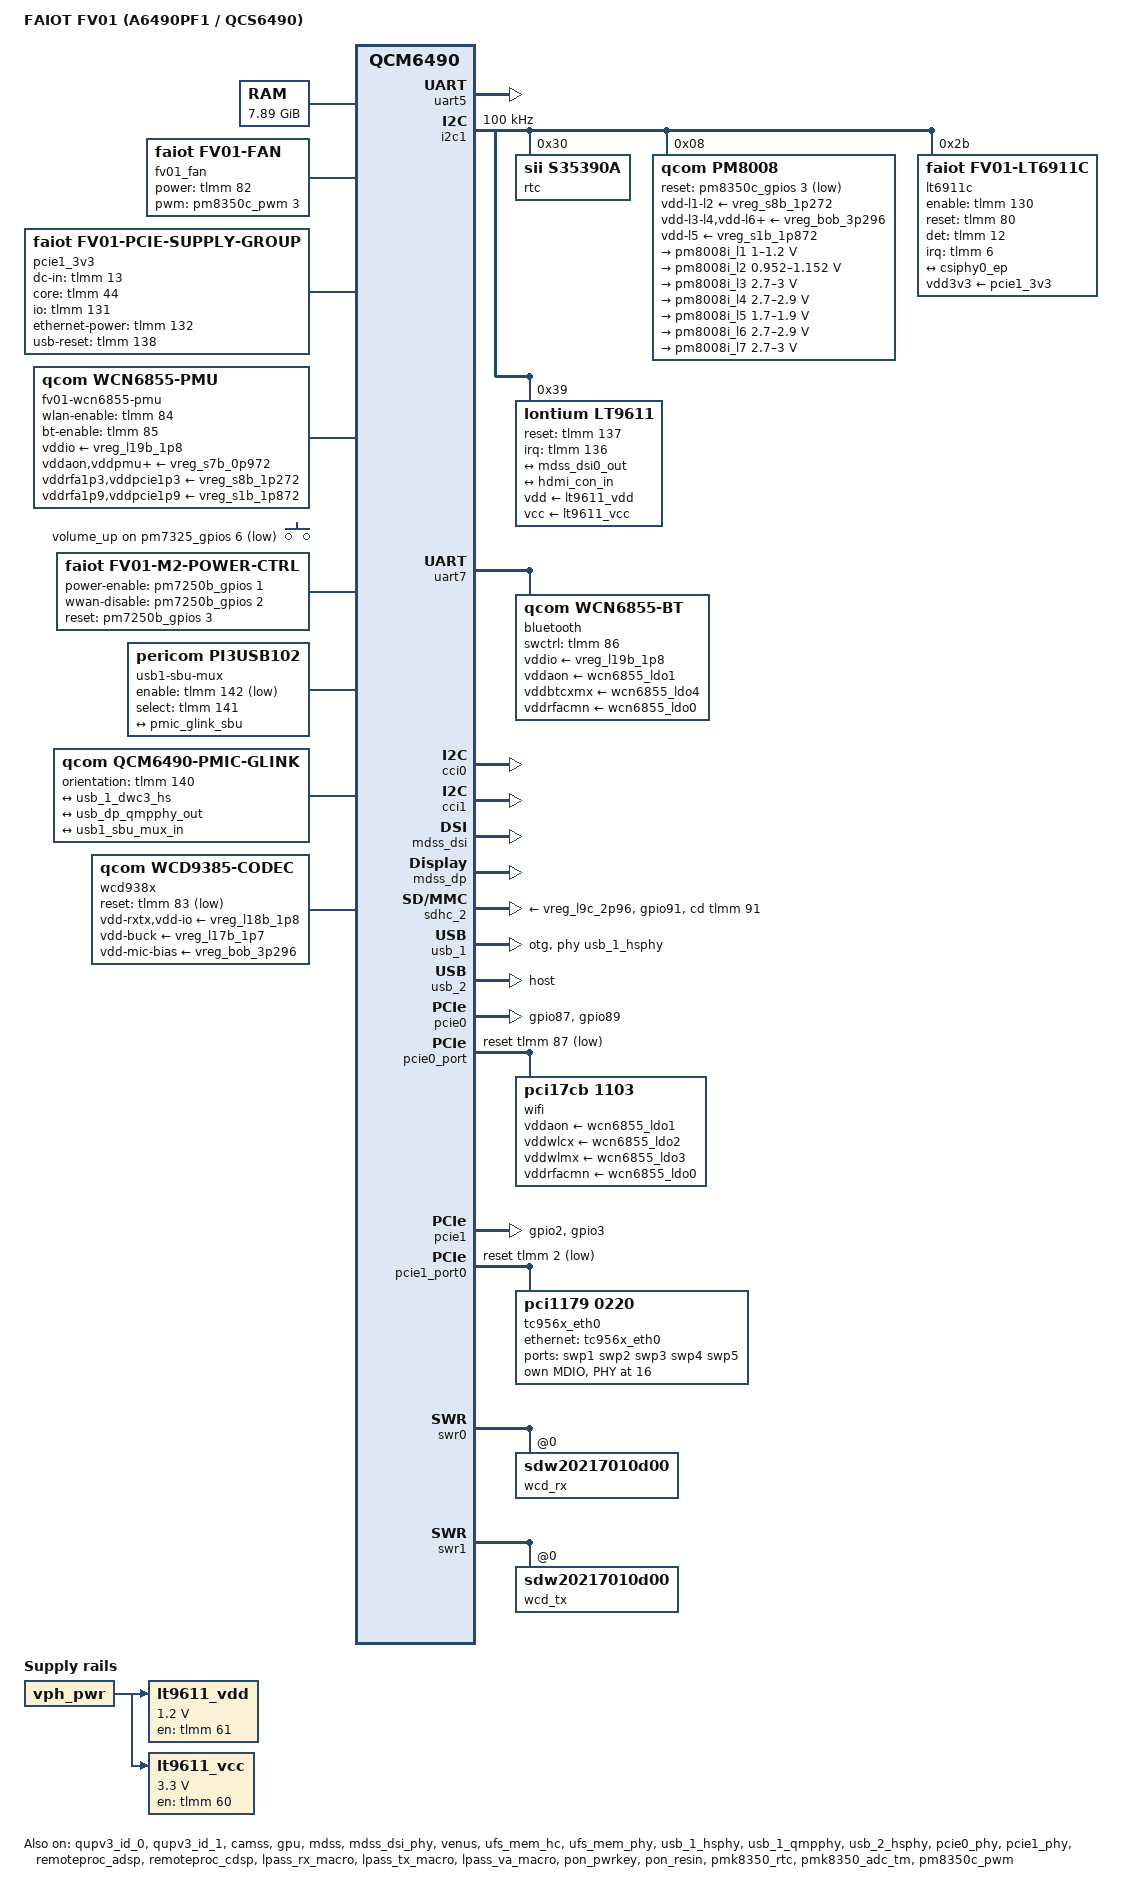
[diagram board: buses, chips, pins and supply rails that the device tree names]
// SPDX-License-Identifier: BSD-3-Clause
/*
 * Device Tree for FAIOT / AidLux FV01 (A6490PF1 / A6490BF1) based on Qualcomm QCS6490.
 */
/dts-v1/;

#define PM7250B_SID 8
#define PM7250B_SID1 9

#include <dt-bindings/gpio/gpio.h>
#include <dt-bindings/input/input.h>
#include <dt-bindings/interrupt-controller/arm-gic.h>
#include <dt-bindings/interrupt-controller/irq.h>
#include <dt-bindings/leds/common.h>
#include <dt-bindings/pinctrl/qcom,pmic-gpio.h>
#include <dt-bindings/regulator/qcom,rpmh-regulator.h>
#include <dt-bindings/sound/qcom,q6asm.h>
#include <dt-bindings/sound/qcom,q6dsp-lpass-ports.h>

#include "kodiak.dtsi"
#include "pm7250b.dtsi"
#include "pm7325.dtsi"
#include "pm8350c.dtsi"
#include "pmk8350.dtsi"
#include "pmr735a.dtsi"
#include "fv01-memory.dtsi"
#include "fv01-regulators.dtsi"
#include "qcom-fv-common.dtsi"

/ {
	model = "FAIOT FV01 (A6490PF1 / QCS6490)";
	compatible = "faiot,fv01", "qcom,qcm6490";
	qcom,msm-id = <498 0x10000>;
	qcom,board-id = <0x10120 0>;

	aliases {
		serial0 = &uart5;
	};

	chosen {
		stdout-path = "serial0:115200n8";
	};

	memory@80000000 {
		device_type = "memory";
		reg = <0 0x80000000 0 0x39300000>,
		      <1 0x80000000 1 0x0>,
		      <0 0xc0000000 0 0xc0000000>;
	};

	hypervisor-watchdog {
		compatible = "qcom,hh-watchdog";
	};

	fv01_fan: faiot-fan {
		compatible = "faiot,fv01-fan";
		pwms = <&pm8350c_pwm 3 1000000>;
		power-gpios = <&tlmm 82 GPIO_ACTIVE_HIGH>;
		#cooling-cells = <2>;
		pinctrl-names = "default";
		pinctrl-0 = <&fv01_fan_pwm>;
	};

	pcie1_3v3: fv01-pcie-supply-group {
		compatible = "faiot,fv01-pcie-supply-group";
		regulator-name = "fv01_pcie1_supply_group";
		regulator-min-microvolt = <3300000>;
		regulator-max-microvolt = <3300000>;
		regulator-always-on;
		dc-in-gpios = <&tlmm 13 GPIO_ACTIVE_HIGH>;
		core-gpios = <&tlmm 44 GPIO_ACTIVE_HIGH>;
		io-gpios = <&tlmm 131 GPIO_ACTIVE_HIGH>;
		ethernet-power-gpios = <&tlmm 132 GPIO_ACTIVE_HIGH>;
		usb-reset-gpios = <&tlmm 138 GPIO_ACTIVE_HIGH>;
		pinctrl-names = "default";
		pinctrl-0 = <&fv01_pcie1_power>;
	};

	fv01-wcn6855-pmu {
		compatible = "qcom,wcn6855-pmu";
		pinctrl-names = "default";
		pinctrl-0 = <&fv01_wlan_en>, <&fv01_bt_en>;
		wlan-enable-gpios = <&tlmm 84 GPIO_ACTIVE_HIGH>;
		bt-enable-gpios = <&tlmm 85 GPIO_ACTIVE_HIGH>;
		vddio-supply = <&vreg_l19b_1p8>;
		vddaon-supply = <&vreg_s7b_0p972>;
		vddpmu-supply = <&vreg_s7b_0p972>;
		vddpmumx-supply = <&vreg_s7b_0p972>;
		vddpmucx-supply = <&vreg_s7b_0p972>;
		vddrfa0p95-supply = <&vreg_s7b_0p972>;
		vddrfa1p3-supply = <&vreg_s8b_1p272>;
		vddrfa1p9-supply = <&vreg_s1b_1p872>;
		vddpcie1p3-supply = <&vreg_s8b_1p272>;
		vddpcie1p9-supply = <&vreg_s1b_1p872>;

		regulators {
			wcn6855_ldo0: ldo0 {
				regulator-name = "fv01_wcn_rfa_cmn_0p8";
			};

			wcn6855_ldo1: ldo1 {
				regulator-name = "fv01_wcn_aon_0p8";
			};

			wcn6855_ldo2: ldo2 {
				regulator-name = "fv01_wcn_wlcx_0p8";
			};

			wcn6855_ldo3: ldo3 {
				regulator-name = "fv01_wcn_wlmx_0p8";
			};

			wcn6855_ldo4: ldo4 {
				regulator-name = "fv01_wcn_btcmx_0p8";
			};

			wcn6855_ldo5: ldo5 {
				regulator-name = "fv01_wcn_pcie_1p8";
			};

			wcn6855_ldo6: ldo6 {
				regulator-name = "fv01_wcn_pcie_0p9";
			};

			wcn6855_ldo7: ldo7 {
				regulator-name = "fv01_wcn_rfa_0p8";
			};

			wcn6855_ldo8: ldo8 {
				regulator-name = "fv01_wcn_rfa_1p2";
			};

			wcn6855_ldo9: ldo9 {
				regulator-name = "fv01_wcn_rfa_1p7";
			};
		};
	};

	gpio-keys {
		compatible = "gpio-keys";
		label = "gpio-keys";
		pinctrl-names = "default";
		pinctrl-0 = <&key_vol_up_default>;

		key-volume-up {
			label = "volume_up";
			gpios = <&pm7325_gpios 6 GPIO_ACTIVE_LOW>;
			linux,input-type = <EV_KEY>;
			linux,code = <KEY_VOLUMEUP>;
			linux,can-disable;
			debounce-interval = <15>;
			wakeup-source;
		};
	};

	lt9611_vdd: lt9611-vdd-regulator {
		compatible = "regulator-fixed";
		regulator-name = "lt9611_vdd";
		vin-supply = <&vph_pwr>;
		regulator-min-microvolt = <1200000>;
		regulator-max-microvolt = <1200000>;
		gpio = <&tlmm 61 GPIO_ACTIVE_HIGH>;
		enable-active-high;
	};

	lt9611_vcc: lt9611-vcc-regulator {
		compatible = "regulator-fixed";
		regulator-name = "lt9611_vcc";
		vin-supply = <&vph_pwr>;
		regulator-min-microvolt = <3300000>;
		regulator-max-microvolt = <3300000>;
		gpio = <&tlmm 60 GPIO_ACTIVE_HIGH>;
		enable-active-high;
	};

	m2-power-ctrl {
		compatible = "faiot,fv01-m2-power-ctrl";
		power-enable-gpios = <&pm7250b_gpios 1 GPIO_ACTIVE_HIGH>;
		wwan-disable-gpios = <&pm7250b_gpios 2 GPIO_ACTIVE_HIGH>;
		reset-gpios = <&pm7250b_gpios 3 GPIO_ACTIVE_HIGH>;
		tc9563-i2c = <&i2c1 0x77>;
	};

	usb1-sbu-mux {
		compatible = "pericom,pi3usb102", "gpio-sbu-mux";
		enable-gpios = <&tlmm 142 GPIO_ACTIVE_LOW>;
		select-gpios = <&tlmm 141 GPIO_ACTIVE_HIGH>;
		pinctrl-names = "default";
		pinctrl-0 = <&typec_sbu_default>;
		mode-switch;
		orientation-switch;

		port {
			usb1_sbu_mux_in: endpoint {
				remote-endpoint = <&pmic_glink_sbu>;
			};
		};
	};

	pmic-glink {
		compatible = "qcom,qcm6490-pmic-glink", "qcom,pmic-glink";
		#address-cells = <1>;
		#size-cells = <0>;
		pinctrl-names = "default";
		pinctrl-0 = <&typec_orientation_default>;
		orientation-gpios = <&tlmm 140 GPIO_ACTIVE_HIGH>;

		connector@0 {
			compatible = "usb-c-connector";
			label = "USB-C";
			reg = <0>;
			power-role = "dual";
			data-role = "dual";

			ports {
				#address-cells = <1>;
				#size-cells = <0>;

				port@0 {
					reg = <0>;

					pmic_glink_hs_in: endpoint {
						remote-endpoint = <&usb_1_dwc3_hs>;
					};
				};

				port@1 {
					reg = <1>;

					pmic_glink_ss_in: endpoint {
						remote-endpoint = <&usb_dp_qmpphy_out>;
					};
				};

				port@2 {
					reg = <2>;

					pmic_glink_sbu: endpoint {
						remote-endpoint = <&usb1_sbu_mux_in>;
					};
				};
			};
		};
	};

	wcd938x: audio-codec {
		compatible = "qcom,wcd9385-codec";
		pinctrl-names = "default";
		pinctrl-0 = <&wcd938x_reset_default>;
		reset-gpios = <&tlmm 83 GPIO_ACTIVE_LOW>;
		qcom,rx-device = <&wcd_rx>;
		qcom,tx-device = <&wcd_tx>;
		vdd-rxtx-supply = <&vreg_l18b_1p8>;
		vdd-io-supply = <&vreg_l18b_1p8>;
		vdd-buck-supply = <&vreg_l17b_1p7>;
		vdd-mic-bias-supply = <&vreg_bob_3p296>;
		qcom,micbias1-microvolt = <1800000>;
		qcom,micbias2-microvolt = <1800000>;
		qcom,micbias3-microvolt = <1800000>;
		qcom,micbias4-microvolt = <1800000>;
		qcom,mbhc-buttons-vthreshold-microvolt = <75000 150000 237032 500000 500000 500000 500000 500000>;
		qcom,mbhc-headset-vthreshold-microvolt = <1700000>;
		qcom,mbhc-headphone-vthreshold-microvolt = <50000>;
		#sound-dai-cells = <1>;
	};

	thermal-zones {
		/delete-node/ cpuss0-thermal;

		/*
		 * Expose CPU subsystem sensor (tsens0 ch5) under the canonical
		 * "cpu-thermal" name so standard userspace monitors (e.g. GNOME
		 * Resources) detect CPU temperature directly.
		 */
		cpu-thermal {
			polling-delay-passive = <0>;

			thermal-sensors = <&tsens0 5>;

			trips {
				cpu_thermal_alert0: trip-point0 {
					temperature = <90000>;
					hysteresis = <2000>;
					type = "hot";
				};

				cpu_thermal_crit: cluster0-crit {
					temperature = <110000>;
					hysteresis = <0>;
					type = "critical";
				};
			};
		};

		cpu1-thermal {
			polling-delay = <1000>;

			trips {
				fv01_fan_cold: fan-cold {
					temperature = <30000>;
					hysteresis = <1000>;
					type = "active";
				};

				fv01_fan_warm: fan-warm {
					temperature = <35000>;
					hysteresis = <1000>;
					type = "active";
				};

				fv01_fan_hot: fan-hot {
					temperature = <45000>;
					hysteresis = <1000>;
					type = "active";
				};

				fv01_fan_max: fan-max {
					temperature = <55000>;
					hysteresis = <1000>;
					type = "active";
				};
			};

			cooling-maps {
				fan-map0 {
					trip = <&fv01_fan_cold>;
					cooling-device = <&fv01_fan 0 0>;
				};

				fan-map1 {
					trip = <&fv01_fan_warm>;
					cooling-device = <&fv01_fan 1 1>;
				};

				fan-map2 {
					trip = <&fv01_fan_hot>;
					cooling-device = <&fv01_fan 2 2>;
				};

				fan-map3 {
					trip = <&fv01_fan_max>;
					cooling-device = <&fv01_fan 3 3>;
				};
			};
		};

		xo-thermal {
			polling-delay-passive = <0>;
			polling-delay = <0>;
			thermal-sensors = <&pmk8350_adc_tm 0>;

			trips {
				active-config0 {
					temperature = <105000>;
					hysteresis = <1000>;
					type = "passive";
				};
			};
		};

		quiet-thermal {
			polling-delay-passive = <0>;
			polling-delay = <0>;
			thermal-sensors = <&pmk8350_adc_tm 1>;

			trips {
				active-config0 {
					temperature = <105000>;
					hysteresis = <1000>;
					type = "passive";
				};
			};
		};

		cam-flash-thermal {
			polling-delay-passive = <0>;
			polling-delay = <0>;
			thermal-sensors = <&pmk8350_adc_tm 2>;

			trips {
				active-config0 {
					temperature = <105000>;
					hysteresis = <1000>;
					type = "passive";
				};
			};
		};

		sdm-skin-thermal {
			polling-delay-passive = <0>;
			polling-delay = <0>;
			thermal-sensors = <&pmk8350_adc_tm 3>;

			trips {
				active-config0 {
					temperature = <105000>;
					hysteresis = <1000>;
					type = "passive";
				};
			};
		};

		wide-rfc-thermal {
			polling-delay-passive = <0>;
			polling-delay = <0>;
			thermal-sensors = <&pmk8350_adc_tm 4>;

			trips {
				active-config0 {
					temperature = <105000>;
					hysteresis = <1000>;
					type = "passive";
				};
			};
		};
	};
};

&hdmi_con_in {
	remote-endpoint = <&lt9611_out>;
};

/* Intentional TrustZone / unpopulated SKU disables */
&crypto {
	status = "disabled";
};

&{/soc@0/dma@117f000} {
	status = "disabled";
};

&pmr735a {
	status = "disabled";
};

&pmr735a_thermal {
	status = "disabled";
};

&remoteproc_mpss {
	status = "disabled";
};

&remoteproc_wpss {
	status = "disabled";
};

&wifi {
	status = "disabled";
};

/* QUP & Serial / I2C / SPI (run expansion QUPs in FIFO mode to avoid TZ GPI-DMA conflict) */
&qupv3_id_0 {
	status = "okay";
};

&qupv3_id_1 {
	status = "okay";
};

&gpi_dma0 {
	status = "okay";
};

&gpi_dma1 {
	status = "okay";
};

&i2c0 {
	/delete-property/ dmas;
	/delete-property/ dma-names;
};

&i2c2 {
	/delete-property/ dmas;
	/delete-property/ dma-names;
};

&spi4 {
	/delete-property/ dmas;
	/delete-property/ dma-names;
};

&i2c13 {
	/delete-property/ dmas;
	/delete-property/ dma-names;
};

&i2c14 {
	/delete-property/ dmas;
	/delete-property/ dma-names;
};

&spi14 {
	/delete-property/ dmas;
	/delete-property/ dma-names;
};

&uart3 {
	pinctrl-0 = <&qup_uart3_tx>, <&qup_uart3_rx>;
};

&uart5 {
	status = "okay";
};

&i2c1 {
	clock-frequency = <100000>;
	status = "okay";

	rtc@30 {
		compatible = "sii,s35390a";
		reg = <0x30>;
	};

	pm8008: pmic@8 {
		compatible = "qcom,pm8008";
		reg = <0x8>;
		reset-gpios = <&pm8350c_gpios 3 GPIO_ACTIVE_LOW>;
		pinctrl-names = "default";
		pinctrl-0 = <&pm8008_reset_state>;
		vdd-l1-l2-supply = <&vreg_s8b_1p272>;
		vdd-l3-l4-supply = <&vreg_bob_3p296>;
		vdd-l5-supply = <&vreg_s1b_1p872>;
		vdd-l6-supply = <&vreg_bob_3p296>;
		vdd-l7-supply = <&vreg_bob_3p296>;

		regulators {
			pm8008i_l1: ldo1 {
				regulator-name = "pm8008i_l1";
				regulator-min-microvolt = <1000000>;
				regulator-max-microvolt = <1200000>;
			};

			pm8008i_l2: ldo2 {
				regulator-name = "pm8008i_l2";
				regulator-min-microvolt = <952000>;
				regulator-max-microvolt = <1152000>;
			};

			pm8008i_l3: ldo3 {
				regulator-name = "pm8008i_l3";
				regulator-min-microvolt = <2700000>;
				regulator-max-microvolt = <3000000>;
			};

			pm8008i_l4: ldo4 {
				regulator-name = "pm8008i_l4";
				regulator-min-microvolt = <2700000>;
				regulator-max-microvolt = <2900000>;
			};

			pm8008i_l5: ldo5 {
				regulator-name = "pm8008i_l5";
				regulator-min-microvolt = <1700000>;
				regulator-max-microvolt = <1900000>;
				regulator-always-on;
			};

			pm8008i_l6: ldo6 {
				regulator-name = "pm8008i_l6";
				regulator-min-microvolt = <2700000>;
				regulator-max-microvolt = <2900000>;
			};

			pm8008i_l7: ldo7 {
				regulator-name = "pm8008i_l7";
				regulator-min-microvolt = <2700000>;
				regulator-max-microvolt = <3000000>;
			};
		};
	};

	lt6911c: hdmi-bridge@2b {
		compatible = "faiot,fv01-lt6911c", "lontium,lt6911uxc";
		reg = <0x2b>;
		vdd3v3-supply = <&pcie1_3v3>;
		enable-gpios = <&tlmm 130 GPIO_ACTIVE_HIGH>;
		reset-gpios = <&tlmm 80 GPIO_ACTIVE_HIGH>;
		det-gpios = <&tlmm 12 GPIO_ACTIVE_HIGH>;
		irq-gpios = <&tlmm 6 GPIO_ACTIVE_HIGH>;
		pinctrl-names = "default";
		pinctrl-0 = <&lt6911c_default>;

		port {
			lt6911c_ep: endpoint {
				bus-type = <4>;
				data-lanes = <1 2 3 4>;
				link-frequencies = /bits/ 64 <297000000 148500000 594000000>;
				remote-endpoint = <&csiphy0_ep>;
			};
		};
	};

	lt9611: lt9611@39 {
		compatible = "lontium,lt9611";
		reg = <0x39>;
		vdd-supply = <&lt9611_vdd>;
		vcc-supply = <&lt9611_vcc>;
		interrupts-extended = <&tlmm 136 IRQ_TYPE_EDGE_FALLING>;
		reset-gpios = <&tlmm 137 GPIO_ACTIVE_HIGH>;
		pinctrl-names = "default";
		pinctrl-0 = <&lt9611_out_state>, <&lt9611_irq_state>;
		#sound-dai-cells = <0>;

		ports {
			#address-cells = <1>;
			#size-cells = <0>;

			port@0 {
				reg = <0>;

				lt9611_in: endpoint {
					remote-endpoint = <&mdss_dsi0_out>;
				};
			};

			port@2 {
				reg = <2>;

				lt9611_out: endpoint {
					remote-endpoint = <&hdmi_con_in>;
				};
			};
		};
	};
};

/* WCN6855 Bluetooth over UART7 */
&uart7 {
	/delete-property/ interrupts;
	interrupts-extended = <&intc GIC_SPI 608 IRQ_TYPE_LEVEL_HIGH>,
			      <&tlmm 31 IRQ_TYPE_EDGE_FALLING>;
	pinctrl-names = "default", "sleep";
	pinctrl-1 = <&qup_uart7_sleep_cts>,
		    <&qup_uart7_sleep_rts>,
		    <&qup_uart7_sleep_tx>,
		    <&qup_uart7_sleep_rx>;
	status = "okay";

	bluetooth {
		compatible = "qcom,wcn6855-bt";
		vddio-supply = <&vreg_l19b_1p8>;
		vddaon-supply = <&wcn6855_ldo1>;
		vddbtcxmx-supply = <&wcn6855_ldo4>;
		vddrfacmn-supply = <&wcn6855_ldo0>;
		vddrfa0p8-supply = <&wcn6855_ldo7>;
		vddrfa1p2-supply = <&wcn6855_ldo8>;
		vddrfa1p7-supply = <&wcn6855_ldo9>;
		max-speed = <3200000>;
		local-bd-address = [d2 ee 12 7f 03 00];
		swctrl-gpios = <&tlmm 86 GPIO_ACTIVE_HIGH>;
		pinctrl-names = "default";
		pinctrl-0 = <&fv01_bt_swctrl>;
	};
};

/* Camera & HDMI-IN CSI-2 Subsystem */
&cci0 {
	status = "okay";
};

&cci1 {
	status = "okay";
};

&camss {
	vdda-phy-supply = <&vreg_l10c_0p88>;
	vdda-pll-supply = <&vreg_l6b_1p2>;
	status = "okay";

	ports {
		port@0 {
			reg = <0>;

			csiphy0_ep: endpoint {
				bus-type = <4>;
				data-lanes = <0 1 2 3>;
				remote-endpoint = <&lt6911c_ep>;
			};
		};
	};
};

/* GPU, MDSS, DSI0 (LT9611 HDMI-OUT) & DP-1 (Type-C AltMode) */
&gpu {
	status = "okay";
};

&gpu_zap_shader {
	firmware-name = "qcom/fv01/a660_zap.elf";
};

&mdss {
	status = "okay";
};

&mdss_dsi {
	vdda-supply = <&vreg_l6b_1p2>;
	status = "okay";
};

&mdss_dsi0_out {
	data-lanes = <0 1 2 3>;
	remote-endpoint = <&lt9611_in>;
};

&mdss_dsi_phy {
	vdds-supply = <&vreg_l10c_0p88>;
	status = "okay";
};

&mdss_dp {
	status = "okay";
};

&mdss_dp_out {
	data-lanes = <0 1 2 3>;
	link-frequencies = /bits/ 64 <1620000000 2700000000 5400000000 8100000000>;
};

/* Venus Hardware Video Codec */
&venus {
	memory-region = <&fv01_cvp_8b200000>;
	firmware-name = "qcom/vpu-2.0/venus.mbn";
	status = "okay";
};

/* UFS & SDXC Storage */
&ufs_mem_hc {
	reset-gpios = <&tlmm 175 GPIO_ACTIVE_LOW>;
	vcc-supply = <&vreg_l7b_2p952>;
	vcc-max-microamp = <800000>;
	vccq-supply = <&vreg_l9b_1p2>;
	vccq-max-microamp = <900000>;
	status = "okay";
};

&ufs_mem_phy {
	vdda-phy-supply = <&vreg_l10c_0p88>;
	vdda-pll-supply = <&vreg_l6b_1p2>;
	status = "okay";
};

&sdhc_2 {
	vmmc-supply = <&vreg_l9c_2p96>;
	vqmmc-supply = <&vreg_l6c_2p96>;
	cd-gpios = <&tlmm 91 GPIO_ACTIVE_HIGH>;
	pinctrl-0 = <&sdc2_clk>, <&sdc2_cmd>, <&sdc2_data>, <&sdc2_cd>;
	pinctrl-1 = <&sdc2_clk_sleep>, <&sdc2_cmd_sleep>, <&sdc2_data_sleep>, <&sdc2_cd_sleep>;
	disable-wp;
	status = "okay";
};

/* Type-C USB 3.2 Gen 1 OTG + Secondary USB 2.0 Host */
&usb_1_hsphy {
	vdda-pll-supply = <&vreg_l10c_0p88>;
	vdda33-supply = <&vreg_l2b_3p072>;
	vdda18-supply = <&vreg_l1c_1p8>;
	qcom,hs-amplitude-bp = <1780>;
	qcom,hs-crossover-voltage-microvolt = <(-31000)>;
	qcom,hs-disconnect-bp = <1743>;
	qcom,hs-output-impedance-micro-ohms = <2600000>;
	qcom,hs-rise-fall-time-bp = <0>;
	qcom,pre-emphasis-amplitude-bp = <20000>;
	qcom,pre-emphasis-duration-bp = <20000>;
	qcom,squelch-detector-bp = <(-2090)>;
	status = "okay";
};

&usb_1_qmpphy {
	vdda-phy-supply = <&vreg_l1b_0p912>;
	vdda-pll-supply = <&vreg_l6b_1p2>;
	mode-switch;
	orientation-switch;
	status = "okay";
};

&usb_dp_qmpphy_out {
	remote-endpoint = <&pmic_glink_ss_in>;
};

&usb_1 {
	dr_mode = "otg";
	maximum-speed = "super-speed";
	phys = <&usb_1_hsphy>, <&usb_1_qmpphy 0>;
	phy-names = "usb2-phy", "usb3-phy";
	usb-role-switch;
	role-switch-default-mode = "peripheral";
	snps,dis_u3_susphy_quirk;
	status = "okay";
};

&usb_1_dwc3_hs {
	remote-endpoint = <&pmic_glink_hs_in>;
};

&usb_2_hsphy {
	vdda-pll-supply = <&vreg_l10c_0p88>;
	vdda33-supply = <&vreg_l2b_3p072>;
	vdda18-supply = <&vreg_l1c_1p8>;
	status = "okay";
};

&usb_2 {
	dr_mode = "host";
	status = "okay";
};

/* PCIe0 (WCN6855 Wi-Fi 6E) & PCIe1 (TC956x Switch + M.2 NVMe + uPD720201 USB3 + GbE/QCA8337 DSA) */
&pcie0 {
	pinctrl-0 = <&pcie0_clkreq_n>, <&fv01_pcie0_reset>, <&fv01_pcie0_wake>;
	status = "okay";
};

&pcie0_phy {
	vdda-phy-supply = <&vreg_l10c_0p88>;
	vdda-pll-supply = <&vreg_l6b_1p2>;
	status = "okay";
};

&pcie0_port {
	reset-gpios = <&tlmm 87 GPIO_ACTIVE_LOW>;
	wake-gpios = <&tlmm 89 GPIO_ACTIVE_LOW>;

	wifi@0 {
		compatible = "pci17cb,1103";
		reg = <0x10000 0x0 0x0 0x0 0x0>;
		vddaon-supply = <&wcn6855_ldo1>;
		vddwlcx-supply = <&wcn6855_ldo2>;
		vddwlmx-supply = <&wcn6855_ldo3>;
		vddrfacmn-supply = <&wcn6855_ldo0>;
		vddrfa0p8-supply = <&wcn6855_ldo7>;
		vddrfa1p2-supply = <&wcn6855_ldo8>;
		vddrfa1p8-supply = <&wcn6855_ldo9>;
		vddpcie0p9-supply = <&wcn6855_ldo6>;
		vddpcie1p8-supply = <&wcn6855_ldo5>;
	};
};

&pcie1 {
	vddpe-3v3-supply = <&pcie1_3v3>;
	pinctrl-0 = <&pcie1_clkreq_n>, <&fv01_pcie1_reset>, <&fv01_pcie1_wake>;
	iommu-map = <0x0   &apps_smmu 0x1c80 0x0 0x1>,
		    <0x100 &apps_smmu 0x1c81 0x0 0x1>,
		    <0x208 &apps_smmu 0x1c82 0x0 0x1>,
		    <0x210 &apps_smmu 0x1c83 0x0 0x1>,
		    <0x218 &apps_smmu 0x1c84 0x0 0x1>,
		    <0x300 &apps_smmu 0x1c87 0x0 0x1>,
		    <0x400 &apps_smmu 0x1c88 0x0 0x1>,
		    <0x500 &apps_smmu 0x1c8c 0x0 0x1>,
		    <0x501 &apps_smmu 0x1c8e 0x0 0x1>;
	status = "okay";
};

&pcie1_phy {
	vdda-phy-supply = <&vreg_l10c_0p88>;
	vdda-pll-supply = <&vreg_l6b_1p2>;
	status = "okay";
};

&pcie1_port0 {
	reset-gpios = <&tlmm 2 GPIO_ACTIVE_LOW>;
	wake-gpios = <&tlmm 3 GPIO_ACTIVE_LOW>;

	pcie@0,0 {
		device_type = "pci";
		reg = <0x10000 0x0 0x0 0x0 0x0>;
		bus-range = <0x2 0xff>;
		#address-cells = <3>;
		#size-cells = <2>;
		ranges;

		pcie@1,0 {
			device_type = "pci";
			reg = <0x20800 0x0 0x0 0x0 0x0>;
			bus-range = <0x3 0xff>;
			#address-cells = <3>;
			#size-cells = <2>;
			ranges;
		};

		pcie@2,0 {
			device_type = "pci";
			reg = <0x21000 0x0 0x0 0x0 0x0>;
			bus-range = <0x4 0xff>;
			#address-cells = <3>;
			#size-cells = <2>;
			ranges;
		};

		pcie@3,0 {
			device_type = "pci";
			reg = <0x21800 0x0 0x0 0x0 0x0>;
			bus-range = <0x5 0xff>;
			#address-cells = <3>;
			#size-cells = <2>;
			ranges;

			tc956x_eth0: ethernet@0,0 {
				compatible = "pci1179,0220";
				reg = <0x50000 0x0 0x0 0x0 0x0>;
				phy-mode = "sgmii";

				fixed-link {
					speed = <1000>;
					full-duplex;
				};

				mdio {
					#address-cells = <1>;
					#size-cells = <0>;

					switch@10 {
						compatible = "qca,qca8337";
						reg = <0x10>;

						mdio {
							#address-cells = <1>;
							#size-cells = <0>;

							qca8337_phy0: ethernet-phy@0 {
								reg = <0>;
							};

							qca8337_phy1: ethernet-phy@1 {
								reg = <1>;
							};

							qca8337_phy2: ethernet-phy@2 {
								reg = <2>;
							};

							qca8337_phy3: ethernet-phy@3 {
								reg = <3>;
							};

							qca8337_phy4: ethernet-phy@4 {
								reg = <4>;
							};
						};

						ports {
							#address-cells = <1>;
							#size-cells = <0>;

							port@0 {
								reg = <0>;
								ethernet = <&tc956x_eth0>;
								phy-mode = "sgmii";
								qca,sgmii-rxclk-falling-edge;
								qca,sgmii-enable-pll;

								fixed-link {
									speed = <1000>;
									full-duplex;
								};
							};

							port@1 {
								reg = <1>;
								label = "swp1";
								phy-handle = <&qca8337_phy0>;
								phy-mode = "internal";
							};

							port@2 {
								reg = <2>;
								label = "swp2";
								phy-handle = <&qca8337_phy1>;
								phy-mode = "internal";
							};

							port@3 {
								reg = <3>;
								label = "swp3";
								phy-handle = <&qca8337_phy2>;
								phy-mode = "internal";
							};

							port@4 {
								reg = <4>;
								label = "swp4";
								phy-handle = <&qca8337_phy3>;
								phy-mode = "internal";
							};

							port@5 {
								reg = <5>;
								label = "swp5";
								phy-handle = <&qca8337_phy4>;
								phy-mode = "internal";
							};
						};
					};
				};
			};

			ethernet@0,1 {
				compatible = "pci1179,0220";
				reg = <0x50100 0x0 0x0 0x0 0x0>;
				status = "disabled";
			};
		};
	};
};

/* ADSP (APR Audio + FastRPC) & CDSP (Hexagon HTP v68 NPU) */
&remoteproc_adsp {
	firmware-name = "adsp.mdt";
	status = "okay";
};

/delete-node/ &q6usbdai;

&remoteproc_cdsp {
	firmware-name = "cdsp.mdt";
	status = "okay";
};

/* SoundWire, LPASS Macros & Audio Card (QCS6490-FV01) */
&lpass_audiocc {
	compatible = "qcom,qcm6490-lpassaudiocc";
	/delete-property/ power-domains;
};

&lpass_rx_macro {
	clocks = <&q6afecc LPASS_CLK_ID_TX_CORE_MCLK LPASS_CLK_ATTRIBUTE_COUPLE_NO>,
		 <&q6afecc LPASS_CLK_ID_TX_CORE_NPL_MCLK LPASS_CLK_ATTRIBUTE_COUPLE_NO>,
		 <&q6afecc LPASS_HW_MACRO_VOTE LPASS_CLK_ATTRIBUTE_COUPLE_NO>,
		 <&q6afecc LPASS_HW_DCODEC_VOTE LPASS_CLK_ATTRIBUTE_COUPLE_NO>,
		 <&lpass_va_macro>;
	clock-names = "mclk", "npl", "macro", "dcodec", "fsgen";
	/delete-property/ power-domains;
	/delete-property/ power-domain-names;
	status = "okay";
};

&lpass_tx_macro {
	clocks = <&q6afecc LPASS_CLK_ID_TX_CORE_MCLK LPASS_CLK_ATTRIBUTE_COUPLE_NO>,
		 <&q6afecc LPASS_CLK_ID_TX_CORE_NPL_MCLK LPASS_CLK_ATTRIBUTE_COUPLE_NO>,
		 <&q6afecc LPASS_HW_MACRO_VOTE LPASS_CLK_ATTRIBUTE_COUPLE_NO>,
		 <&q6afecc LPASS_HW_DCODEC_VOTE LPASS_CLK_ATTRIBUTE_COUPLE_NO>,
		 <&lpass_va_macro>;
	clock-names = "mclk", "npl", "macro", "dcodec", "fsgen";
	/delete-property/ power-domains;
	/delete-property/ power-domain-names;
	status = "okay";
};

&lpass_wsa_macro {
	clocks = <&q6afecc LPASS_CLK_ID_TX_CORE_MCLK LPASS_CLK_ATTRIBUTE_COUPLE_NO>,
		 <&q6afecc LPASS_CLK_ID_TX_CORE_NPL_MCLK LPASS_CLK_ATTRIBUTE_COUPLE_NO>,
		 <&q6afecc LPASS_HW_MACRO_VOTE LPASS_CLK_ATTRIBUTE_COUPLE_NO>,
		 <&q6afecc LPASS_HW_DCODEC_VOTE LPASS_CLK_ATTRIBUTE_COUPLE_NO>,
		 <&lpass_va_macro>;
};

&lpass_va_macro {
	clocks = <&q6afecc LPASS_CLK_ID_VA_CORE_MCLK LPASS_CLK_ATTRIBUTE_COUPLE_NO>,
		 <&q6afecc LPASS_HW_MACRO_VOTE LPASS_CLK_ATTRIBUTE_COUPLE_NO>,
		 <&q6afecc LPASS_HW_DCODEC_VOTE LPASS_CLK_ATTRIBUTE_COUPLE_NO>;
	clock-names = "mclk", "macro", "dcodec";
	/delete-property/ power-domains;
	/delete-property/ power-domain-names;
	pinctrl-names = "default";
	pinctrl-0 = <&lpass_dmic01_clk>, <&lpass_dmic01_data>,
		    <&lpass_dmic23_clk>, <&lpass_dmic23_data>;
	qcom,dmic-sample-rate = <4800000>;
	vdd-micb-supply = <&vreg_bob_3p296>;
	status = "okay";
};

&swr0 {
	status = "okay";

	wcd_rx: codec@0,4 {
		compatible = "sdw20217010d00";
		reg = <0 4>;
		qcom,rx-port-mapping = <1 2 3 4 5>;
	};
};

&swr1 {
	status = "okay";

	wcd_tx: codec@0,3 {
		compatible = "sdw20217010d00";
		reg = <0 3>;
		qcom,tx-port-mapping = <1 2 3 4>;
	};
};

&sound {
	compatible = "qcom,sm8250-sndcard";
	model = "QCS6490-FV01";
	audio-routing = "IN1_HPHL", "HPHL_OUT",
			"IN2_HPHR", "HPHR_OUT",
			"AMIC1", "MIC BIAS1",
			"AMIC2", "MIC BIAS2",
			"AMIC3", "MIC BIAS3",
			"AMIC4", "MIC BIAS3",
			"AMIC5", "MIC BIAS4",
			"TX SWR_ADC0", "ADC1_OUTPUT",
			"TX SWR_ADC1", "ADC2_OUTPUT",
			"TX SWR_ADC2", "ADC3_OUTPUT",
			"TX SWR_ADC3", "ADC4_OUTPUT",
			"TX SWR_DMIC0", "DMIC1_OUTPUT",
			"TX SWR_DMIC1", "DMIC2_OUTPUT",
			"TX SWR_DMIC2", "DMIC3_OUTPUT",
			"TX SWR_DMIC3", "DMIC4_OUTPUT",
			"TX SWR_DMIC4", "DMIC5_OUTPUT",
			"TX SWR_DMIC5", "DMIC6_OUTPUT",
			"TX SWR_DMIC6", "DMIC7_OUTPUT",
			"TX SWR_DMIC7", "DMIC8_OUTPUT";

	mm1-dai-link {
		link-name = "MultiMedia1";

		cpu {
			sound-dai = <&q6asmdai MSM_FRONTEND_DAI_MULTIMEDIA1>;
		};
	};

	mm2-dai-link {
		link-name = "MultiMedia2";

		cpu {
			sound-dai = <&q6asmdai MSM_FRONTEND_DAI_MULTIMEDIA2>;
		};
	};

	mm3-dai-link {
		link-name = "MultiMedia3";

		cpu {
			sound-dai = <&q6asmdai MSM_FRONTEND_DAI_MULTIMEDIA3>;
		};
	};

	wcd-playback-dai-link {
		link-name = "WCD Playback";

		cpu {
			sound-dai = <&q6afedai RX_CODEC_DMA_RX_0>;
		};

		codec {
			sound-dai = <&wcd938x 0>, <&swr0 0>, <&lpass_rx_macro 0>;
		};

		platform {
			sound-dai = <&q6routing>;
		};
	};

	wcd-capture-dai-link {
		link-name = "WCD Capture";

		cpu {
			sound-dai = <&q6afedai TX_CODEC_DMA_TX_3>;
		};

		codec {
			sound-dai = <&wcd938x 1>, <&swr1 0>, <&lpass_tx_macro 0>;
		};

		platform {
			sound-dai = <&q6routing>;
		};
	};

	va-dai-link {
		link-name = "VA Capture";

		cpu {
			sound-dai = <&q6afedai VA_CODEC_DMA_TX_0>;
		};

		codec {
			sound-dai = <&lpass_va_macro 0>;
		};

		platform {
			sound-dai = <&q6routing>;
		};
	};
};

/* PMIC PON Keys, RTC, VADC, ADC-TM NTC Thermistors, PWM & RGB LPG LEDs */
&pon_pwrkey {
	status = "okay";
};

&pon_resin {
	linux,code = <KEY_VOLUMEDOWN>;
	wakeup-source;
	status = "okay";
};

&pmk8350_rtc {
	status = "okay";
};

&pmk8350_vadc {
	pinctrl-names = "default";
	pinctrl-0 = <&pm7325_gpio2_adc>;

	channel@0 {
		reg = <0x0>;
		label = "ref_gnd";
		qcom,pre-scaling = <1 1>;
	};

	channel@1 {
		reg = <0x1>;
		label = "vref_1p25";
		qcom,pre-scaling = <1 1>;
	};

	channel@3 {
		reg = <0x3>;
		label = "pmk8350_die_temp";
		qcom,pre-scaling = <1 1>;
	};

	channel@44 {
		reg = <0x44>;
		label = "xo_therm";
		qcom,ratiometric;
		qcom,hw-settle-time = <200>;
		qcom,pre-scaling = <1 1>;
	};

	channel@103 {
		reg = <0x103>;
		label = "pm7325_die_temp";
		qcom,pre-scaling = <1 1>;
	};

	channel@10b {
		reg = <0x10b>;
		label = "qcom_40pin_adc_gpio2";
		qcom,pre-scaling = <1 1>;
	};

	channel@144 {
		reg = <0x144>;
		label = "pm7325_quiet_therm";
		qcom,ratiometric;
		qcom,hw-settle-time = <200>;
		qcom,pre-scaling = <1 1>;
	};

	channel@145 {
		reg = <0x145>;
		label = "pm7325_cam_flash_therm";
		qcom,ratiometric;
		qcom,hw-settle-time = <200>;
		qcom,pre-scaling = <1 1>;
	};

	channel@146 {
		reg = <0x146>;
		label = "pm7325_sdm_skin_therm";
		qcom,ratiometric;
		qcom,hw-settle-time = <200>;
		qcom,pre-scaling = <1 1>;
	};

	channel@147 {
		reg = <0x147>;
		label = "pm7325_wide_rfc_therm";
		qcom,ratiometric;
		qcom,hw-settle-time = <200>;
		qcom,pre-scaling = <1 1>;
	};

	channel@18e {
		reg = <0x18e>;
		label = "pm7325_vph_pwr";
		qcom,pre-scaling = <1 3>;
	};
};

&pmk8350_adc_tm {
	status = "okay";

	xo-therm@0 {
		reg = <0>;
		io-channels = <&pmk8350_vadc 0x44>;
		qcom,ratiometric;
		qcom,hw-settle-time-us = <200>;
	};

	quiet-therm@1 {
		reg = <1>;
		io-channels = <&pmk8350_vadc 0x144>;
		qcom,ratiometric;
		qcom,hw-settle-time-us = <200>;
	};

	cam-flash-therm@2 {
		reg = <2>;
		io-channels = <&pmk8350_vadc 0x145>;
		qcom,ratiometric;
		qcom,hw-settle-time-us = <200>;
	};

	sdm-skin-therm@3 {
		reg = <3>;
		io-channels = <&pmk8350_vadc 0x146>;
		qcom,ratiometric;
		qcom,hw-settle-time-us = <200>;
	};

	wide-rfc-therm@4 {
		reg = <4>;
		io-channels = <&pmk8350_vadc 0x147>;
		qcom,ratiometric;
		qcom,hw-settle-time-us = <200>;
	};
};

&pm7325_gpios {
	pm7325_gpio2_adc: gpio2-adc-state {
		pins = "gpio2";
		function = "normal";
		bias-high-impedance;
	};

	key_vol_up_default: key-vol-up-state {
		pins = "gpio6";
		function = "normal";
		input-enable;
		bias-pull-up;
		power-source = <1>;
		qcom,drive-strength = <PMIC_GPIO_STRENGTH_LOW>;
	};
};

&pm8350c_gpios {
	pm8008_reset_state: pm8008-reset-state {
		pins = "gpio3";
		function = "normal";
		bias-disable;
		output-high;
		power-source = <0>;
	};

	fv01_fan_pwm: fan-pwm-state {
		pins = "gpio8";
		function = PMIC_GPIO_FUNC_FUNC1;
		power-source = <0>;
		bias-disable;
		output-low;
		drive-push-pull;
		qcom,drive-strength = <PMIC_GPIO_STRENGTH_LOW>;
	};
};

&pm8350c_pwm {
	#address-cells = <1>;
	#size-cells = <0>;
	status = "okay";

	led@1 {
		reg = <1>;
		color = <LED_COLOR_ID_RED>;
		label = "red";
		default-state = "off";
	};

	led@2 {
		reg = <2>;
		color = <LED_COLOR_ID_GREEN>;
		label = "green";
		default-state = "off";
	};

	led@3 {
		reg = <3>;
		color = <LED_COLOR_ID_BLUE>;
		label = "blue";
		default-state = "off";
	};
};

/* SoC TLMM Pin Configuration */
&tlmm {
	qup_uart7_cts: qup-uart7-cts-state {
		bias-bus-hold;
	};

	qup_uart7_rts: qup-uart7-rts-state {
		drive-strength = <2>;
		bias-disable;
	};

	qup_uart7_tx: qup-uart7-tx-state {
		drive-strength = <2>;
		bias-disable;
	};

	qup_uart7_rx: qup-uart7-rx-state {
		drive-strength = <2>;
		bias-pull-up;
	};

	qup_uart7_sleep_cts: qup-uart7-sleep-cts-state {
		pins = "gpio28";
		function = "gpio";
		bias-bus-hold;
	};

	qup_uart7_sleep_rts: qup-uart7-sleep-rts-state {
		pins = "gpio29";
		function = "gpio";
		bias-pull-down;
	};

	qup_uart7_sleep_tx: qup-uart7-sleep-tx-state {
		pins = "gpio30";
		function = "gpio";
		bias-pull-up;
	};

	qup_uart7_sleep_rx: qup-uart7-sleep-rx-state {
		pins = "gpio31";
		function = "gpio";
		bias-pull-up;
	};

	sdc2_clk: sdc2-clk-state {
		drive-strength = <16>;
		bias-disable;
	};

	sdc2_cmd: sdc2-cmd-state {
		drive-strength = <10>;
		bias-pull-up;
	};

	sdc2_data: sdc2-data-state {
		drive-strength = <10>;
		bias-pull-up;
	};

	sdc2_clk_sleep: sdc2-clk-sleep-state {
		/delete-property/ bias-bus-hold;
		bias-disable;
	};

	sdc2_cmd_sleep: sdc2-cmd-sleep-state {
		/delete-property/ bias-bus-hold;
		bias-pull-up;
	};

	sdc2_data_sleep: sdc2-data-sleep-state {
		/delete-property/ bias-bus-hold;
		bias-pull-up;
	};

	sdc2_cd: sdc2-cd-state {
		pins = "gpio91";
		drive-strength = <2>;
		bias-pull-up;
	};

	sdc2_cd_sleep: sdc2-cd-sleep-state {
		pins = "gpio91";
		drive-strength = <2>;
		bias-pull-up;
	};

	fv01_pcie0_reset: fv01-pcie0-reset-state {
		pins = "gpio87";
		function = "gpio";
		drive-strength = <16>;
		bias-disable;
		output-low;
	};

	fv01_pcie0_wake: fv01-pcie0-wake-state {
		pins = "gpio89";
		function = "gpio";
		drive-strength = <2>;
		bias-pull-up;
	};

	fv01_pcie1_reset: fv01-pcie1-reset-state {
		pins = "gpio2";
		function = "gpio";
		drive-strength = <16>;
		bias-disable;
	};

	fv01_pcie1_wake: fv01-pcie1-wake-state {
		pins = "gpio3";
		function = "gpio";
		drive-strength = <2>;
		bias-pull-up;
	};

	fv01_pcie1_power: fv01-pcie1-power-state {
		pins = "gpio13", "gpio44", "gpio131", "gpio132", "gpio138";
		function = "gpio";
		drive-strength = <8>;
		bias-disable;
	};

	fv01_wlan_en: fv01-wlan-enable-state {
		pins = "gpio84";
		function = "gpio";
		drive-strength = <16>;
		output-low;
		bias-pull-up;
	};

	fv01_bt_en: fv01-bt-enable-state {
		pins = "gpio85";
		function = "gpio";
		drive-strength = <16>;
		output-low;
		bias-disable;
	};

	fv01_bt_swctrl: fv01-bt-swctrl-state {
		pins = "gpio86";
		function = "gpio";
		bias-pull-down;
	};

	wcd938x_reset_default: wcd938x-reset-state {
		pins = "gpio83";
		function = "gpio";
		drive-strength = <8>;
		bias-pull-down;
	};

	lt9611_out_state: lt9611-out-state {
		pins = "gpio60", "gpio61", "gpio137";
		function = "gpio";
		drive-strength = <8>;
		bias-disable;
	};

	lt9611_irq_state: lt9611-irq-state {
		pins = "gpio136";
		function = "gpio";
		drive-strength = <2>;
		bias-pull-up;
		input-enable;
	};

	lt6911c_default: lt6911c-default-state {
		in-pins {
			pins = "gpio6", "gpio12";
			function = "gpio";
			drive-strength = <2>;
			bias-disable;
			input-enable;
		};

		out-pins {
			pins = "gpio80", "gpio130";
			function = "gpio";
			drive-strength = <8>;
			bias-disable;
		};
	};

	typec_orientation_default: typec-orientation-state {
		pins = "gpio140";
		function = "gpio";
		drive-strength = <2>;
		bias-disable;
		input-enable;
	};

	typec_sbu_default: typec-sbu-default-state {
		pins = "gpio141", "gpio142";
		function = "gpio";
		drive-strength = <2>;
		bias-disable;
	};
};
